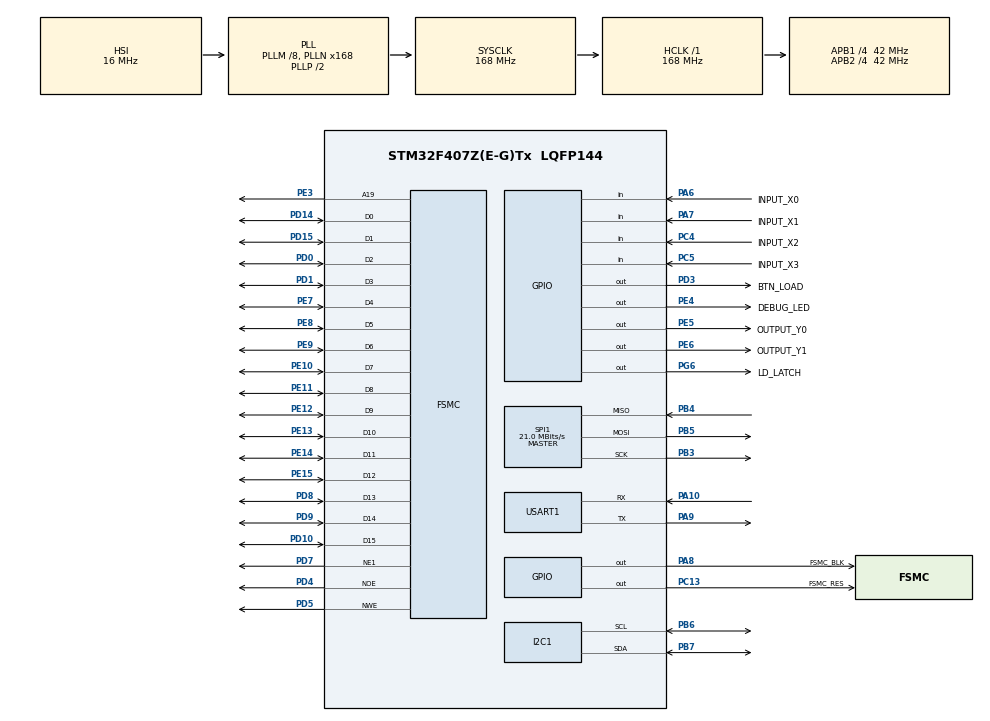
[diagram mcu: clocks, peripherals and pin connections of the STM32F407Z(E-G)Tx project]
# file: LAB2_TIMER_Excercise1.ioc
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FSMC.AddressSetupTime1=0xf
FSMC.BusTurnAroundDuration1=0
FSMC.DataSetupTime1=60
FSMC.ExtendedAddressSetupTime1=8
FSMC.ExtendedBusTurnAroundDuration1=0
FSMC.ExtendedDataSetupTime1=9
FSMC.ExtendedMode1=FSMC_EXTENDED_MODE_ENABLE
I2C1.I2C_Mode=I2C_Standard
Mcu.Family=STM32F4
Mcu.Name=STM32F407Z(E-G)Tx
Mcu.Package=LQFP144
NVIC.PriorityGroup=NVIC_PRIORITYGROUP_4
NVIC.TIM2_IRQn=true\:0\:0\:false\:false\:true\:true\:true
NVIC.USART1_IRQn=true\:0\:0\:false\:false\:true\:true\:true
PA10.Mode=Asynchronous
PA10.Signal=USART1_RX
PA13.Mode=Serial_Wire
PA13.Signal=SYS_JTMS-SWDIO
PA14.Mode=Serial_Wire
PA14.Signal=SYS_JTCK-SWCLK
PA6.GPIO_Label=INPUT_X0
PA6.Signal=GPIO_Input
PA7.GPIO_Label=INPUT_X1
PA7.Signal=GPIO_Input
PA8.GPIO_Label=FSMC_BLK
PA8.Signal=GPIO_Output
PA9.Mode=Asynchronous
PA9.Signal=USART1_TX
PB3.Mode=Full_Duplex_Master
PB3.Signal=SPI1_SCK
PB4.Mode=Full_Duplex_Master
PB4.Signal=SPI1_MISO
PB5.Mode=Full_Duplex_Master
PB5.Signal=SPI1_MOSI
PB6.Mode=I2C
PB6.Signal=I2C1_SCL
PB7.Mode=I2C
PB7.Signal=I2C1_SDA
PC13-ANTI_TAMP.GPIO_Label=FSMC_RES
PC13-ANTI_TAMP.Signal=GPIO_Output
PC4.GPIO_Label=INPUT_X2
PC4.Signal=GPIO_Input
PC5.GPIO_Label=INPUT_X3
PC5.Signal=GPIO_Input
PD0.Signal=FSMC_D2_DA2
PD1.Signal=FSMC_D3_DA3
PD10.Signal=FSMC_D15_DA15
PD14.Signal=FSMC_D0_DA0
PD15.Signal=FSMC_D1_DA1
PD3.GPIO_Label=BTN_LOAD
PD3.Signal=GPIO_Output
PD4.Signal=FSMC_NOE
PD5.Signal=FSMC_NWE
PD7.Mode=NorPsramChipSelect1_1
PD7.Signal=FSMC_NE1
PD8.Signal=FSMC_D13_DA13
PD9.Signal=FSMC_D14_DA14
PE10.Signal=FSMC_D7_DA7
PE11.Signal=FSMC_D8_DA8
PE12.Signal=FSMC_D9_DA9
PE13.Signal=FSMC_D10_DA10
PE14.Signal=FSMC_D11_DA11
PE15.Signal=FSMC_D12_DA12
PE3.Signal=FSMC_A19
PE4.GPIO_Label=DEBUG_LED
PE4.Signal=GPIO_Output
PE5.GPIO_Label=OUTPUT_Y0
PE5.Signal=GPIO_Output
PE6.GPIO_Label=OUTPUT_Y1
PE6.Signal=GPIO_Output
PE7.Signal=FSMC_D4_DA4
PE8.Signal=FSMC_D5_DA5
PE9.Signal=FSMC_D6_DA6
PG6.GPIO_Label=LD_LATCH
PG6.Signal=GPIO_Output
PH0-OSC_IN.Mode=HSE-External-Oscillator
PH0-OSC_IN.Signal=RCC_OSC_IN
PH1-OSC_OUT.Mode=HSE-External-Oscillator
PH1-OSC_OUT.Signal=RCC_OSC_OUT
ProjectManager.HeapSize=0x200
ProjectManager.StackSize=0x400
ProjectManager.TargetToolchain=STM32CubeIDE
RCC.48MHZClocksFreq_Value=84000000
RCC.AHBFreq_Value=168000000
RCC.APB1CLKDivider=RCC_HCLK_DIV4
RCC.APB1Freq_Value=42000000
RCC.APB1TimFreq_Value=84000000
RCC.APB2CLKDivider=RCC_HCLK_DIV4
RCC.APB2Freq_Value=42000000
RCC.APB2TimFreq_Value=84000000
RCC.CortexFreq_Value=168000000
RCC.HCLKFreq_Value=168000000
RCC.HSE_VALUE=8000000
RCC.HSI_VALUE=16000000
RCC.LSE_VALUE=32768
RCC.PLLM=8
RCC.PLLN=168
RCC.SYSCLKFreq_VALUE=168000000
RCC.SYSCLKSource=RCC_SYSCLKSOURCE_PLLCLK
RCC.VCOOutputFreq_Value=336000000
SH.FSMC_A19.0=FSMC_A19,A19_1
SH.FSMC_D0_DA0.0=FSMC_D0,16b-d1
SH.FSMC_D10_DA10.0=FSMC_D10,16b-d1
SH.FSMC_D11_DA11.0=FSMC_D11,16b-d1
SH.FSMC_D12_DA12.0=FSMC_D12,16b-d1
SH.FSMC_D13_DA13.0=FSMC_D13,16b-d1
SH.FSMC_D14_DA14.0=FSMC_D14,16b-d1
SH.FSMC_D15_DA15.0=FSMC_D15,16b-d1
SH.FSMC_D1_DA1.0=FSMC_D1,16b-d1
SH.FSMC_D2_DA2.0=FSMC_D2,16b-d1
SH.FSMC_D3_DA3.0=FSMC_D3,16b-d1
SH.FSMC_D4_DA4.0=FSMC_D4,16b-d1
SH.FSMC_D5_DA5.0=FSMC_D5,16b-d1
SH.FSMC_D6_DA6.0=FSMC_D6,16b-d1
SH.FSMC_D7_DA7.0=FSMC_D7,16b-d1
SH.FSMC_D8_DA8.0=FSMC_D8,16b-d1
SH.FSMC_D9_DA9.0=FSMC_D9,16b-d1
SH.FSMC_NOE.0=FSMC_NOE,Lcd1
SH.FSMC_NWE.0=FSMC_NWE,Lcd1
SPI1.BaudRatePrescaler=SPI_BAUDRATEPRESCALER_2
SPI1.CalculateBaudRate=21.0 MBits/s
SPI1.Direction=SPI_DIRECTION_2LINES
SPI1.Mode=SPI_MODE_MASTER
SPI1.VirtualType=VM_MASTER
TIM2.Period=100-1
TIM2.Prescaler=840-1
USART1.VirtualMode=VM_ASYNC
VP_TIM2_VS_ClockSourceINT.Mode=Internal
board=custom

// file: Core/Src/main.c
/* USER CODE BEGIN Header */
/**
  ******************************************************************************
  * @file           : main.c
  * @brief          : Main program body
  ******************************************************************************
  * @attention
  *
  * <h2><center>&copy; Copyright (c) 2024 STMicroelectronics.
  * All rights reserved.</center></h2>
  *
  * This software component is licensed by ST under BSD 3-Clause license,
  * the "License"; You may not use this file except in compliance with the
  * License. You may obtain a copy of the License at:
  *                        opensource.org/licenses/BSD-3-Clause
  *
  ******************************************************************************
  */
/* USER CODE END Header */
#include "main.h"
#include "i2c.h"
#include "spi.h"
#include "tim.h"
#include "usart.h"
#include "gpio.h"
#include "fsmc.h"

/* USER CODE BEGIN Includes */
#include "software_timer.h"
#include "led_7seg.h"
/* USER CODE END Includes */

void SystemClock_Config(void);
/* USER CODE BEGIN PFP */
void system_init();
void FlashLedDebug();
void FlashLedY0();
void FlashLedY1();
/* USER CODE END PFP */

int main(void)
{

  /* MCU Configuration--------------------------------------------------------*/

  /* Reset of all peripherals, Initializes the Flash interface and the Systick. */
  HAL_Init();

  /* Configure the system clock */
  SystemClock_Config();

  /* Initialize all configured peripherals */
  MX_GPIO_Init();
  MX_TIM2_Init();
  MX_SPI1_Init();
  MX_FSMC_Init();
  MX_I2C1_Init();
  MX_USART1_UART_Init();
  /* USER CODE BEGIN 2 */
  system_init();
  led7_SetColon(1);
  /* USER CODE END 2 */

  /* Infinite loop */
  /* USER CODE BEGIN WHILE */
  while (1)
  {
	  while(!flag_timer2);
	  flag_timer2 = 0;
	  //Tasks
	  FlashLedDebug();
	  FlashLedY0();
	  FlashLedY1();
    /* USER CODE END WHILE */

  }
}

void SystemClock_Config(void)
{
  RCC_OscInitTypeDef RCC_OscInitStruct = {0};
  RCC_ClkInitTypeDef RCC_ClkInitStruct = {0};

  /** Configure the main internal regulator output voltage
  */
  __HAL_RCC_PWR_CLK_ENABLE();
  __HAL_PWR_VOLTAGESCALING_CONFIG(PWR_REGULATOR_VOLTAGE_SCALE1);
  /** Initializes the RCC Oscillators according to the specified parameters
  * in the RCC_OscInitTypeDef structure.
  */
  RCC_OscInitStruct.OscillatorType = RCC_OSCILLATORTYPE_HSI;
  RCC_OscInitStruct.HSIState = RCC_HSI_ON;
  RCC_OscInitStruct.HSICalibrationValue = RCC_HSICALIBRATION_DEFAULT;
  RCC_OscInitStruct.PLL.PLLState = RCC_PLL_ON;
  RCC_OscInitStruct.PLL.PLLSource = RCC_PLLSOURCE_HSI;
  RCC_OscInitStruct.PLL.PLLM = 8;
  RCC_OscInitStruct.PLL.PLLN = 168;
  RCC_OscInitStruct.PLL.PLLP = RCC_PLLP_DIV2;
  RCC_OscInitStruct.PLL.PLLQ = 4;
  if (HAL_RCC_OscConfig(&RCC_OscInitStruct) != HAL_OK)
  {
    Error_Handler();
  }
  /** Initializes the CPU, AHB and APB buses clocks
  */
  RCC_ClkInitStruct.ClockType = RCC_CLOCKTYPE_HCLK|RCC_CLOCKTYPE_SYSCLK
                              |RCC_CLOCKTYPE_PCLK1|RCC_CLOCKTYPE_PCLK2;
  RCC_ClkInitStruct.SYSCLKSource = RCC_SYSCLKSOURCE_PLLCLK;
  RCC_ClkInitStruct.AHBCLKDivider = RCC_SYSCLK_DIV1;
  RCC_ClkInitStruct.APB1CLKDivider = RCC_HCLK_DIV4;
  RCC_ClkInitStruct.APB2CLKDivider = RCC_HCLK_DIV4;

  if (HAL_RCC_ClockConfig(&RCC_ClkInitStruct, FLASH_LATENCY_5) != HAL_OK)
  {
    Error_Handler();
  }
}

/* USER CODE BEGIN 4 */
void system_init(){
	  HAL_GPIO_WritePin(OUTPUT_Y0_GPIO_Port, OUTPUT_Y0_Pin, 0);
	  HAL_GPIO_WritePin(OUTPUT_Y1_GPIO_Port, OUTPUT_Y1_Pin, 0);
	  HAL_GPIO_WritePin(DEBUG_LED_GPIO_Port, DEBUG_LED_Pin, 0);
	  timer_init();
	  led7_init();

	  setTimer2(50);
}

uint8_t count_led_debug = 0;
uint8_t count_led_Y0 = 0;
uint8_t count_led_Y1 = 0;

void FlashLedDebug(){
	count_led_debug = (count_led_debug + 1)%40;
	if(count_led_debug == 0) {
		HAL_GPIO_TogglePin(DEBUG_LED_GPIO_Port, DEBUG_LED_Pin);
	}
}

void FlashLedY0(){
	count_led_Y0 = (count_led_Y0 + 1)%120;
	if(count_led_Y0 > 40) {
		HAL_GPIO_WritePin(OUTPUT_Y0_GPIO_Port, OUTPUT_Y0_Pin, 0);
	} else {
		HAL_GPIO_WritePin(OUTPUT_Y0_GPIO_Port, OUTPUT_Y0_Pin, 1);
	}
}

void FlashLedY1() {
	count_led_Y1 = (count_led_Y1+ 1)%120;
	if(count_led_Y1 > 100){
		HAL_GPIO_WritePin(OUTPUT_Y1_GPIO_Port, OUTPUT_Y1_Pin, 0);
	} else {
		HAL_GPIO_WritePin(OUTPUT_Y1_GPIO_Port, OUTPUT_Y1_Pin, 1);
	}
}
/* USER CODE END 4 */

void Error_Handler(void)
{
  __disable_irq();
  while (1)
  {
  }
}

/************************ (C) COPYRIGHT STMicroelectronics *****END OF FILE****/
